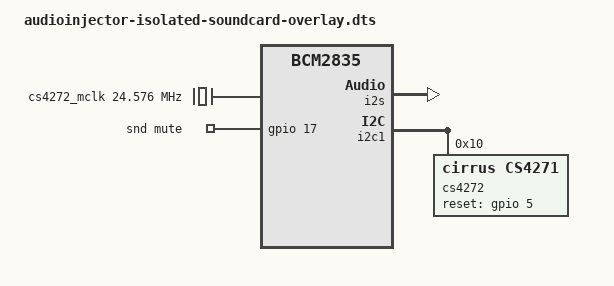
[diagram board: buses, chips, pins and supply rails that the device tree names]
// Definitions for audioinjector.net audio isolated soundcard
/dts-v1/;
/plugin/;

/ {
	compatible = "brcm,bcm2835";

	fragment@0 {
		target = <&i2s>;
		__overlay__ {
			status = "okay";
		};
	};

	fragment@1 {
		target-path = "/";
		__overlay__ {
			cs4272_mclk: codec-mclk {
				compatible = "fixed-clock";
				#clock-cells = <0>;
				clock-frequency = <24576000>;
			};
		};
	};

	fragment@2 {
		target = <&i2c1>;
		__overlay__ {
			#address-cells = <1>;
			#size-cells = <0>;
			status = "okay";

			cs4272: cs4272@10 {
				#sound-dai-cells = <0>;
				compatible = "cirrus,cs4271";
				reg = <0x10>;
				reset-gpio = <&gpio 5 0>;
				clocks = <&cs4272_mclk>;
				clock-names = "mclk";
				status = "okay";
			};
		};
	};

	fragment@3 {
		target = <&sound>;
		snd: __overlay__ {
			compatible = "ai,audioinjector-isolated-soundcard";
			mute-gpios = <&gpio 17 0>;
			i2s-controller = <&i2s>;
			codec = <&cs4272>;
			status = "okay";
		};
	};
};
